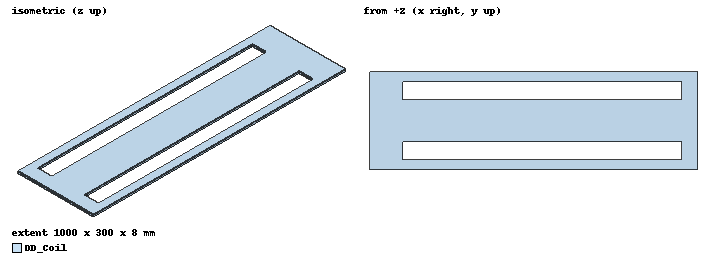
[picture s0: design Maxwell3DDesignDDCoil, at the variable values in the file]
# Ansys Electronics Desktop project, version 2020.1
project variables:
  $P1 = 10mm
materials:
  vacuum: permittivity=1

design Maxwell3DDesignDDCoil (Maxwell 3D, Magnetostatic, model units mm)
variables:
  b1_y = 50mm
  box1width = 30mm
  box2width = 55mm
  coil_diameter = 8mm
  P_2 = 30mm
  P_1 = 150mm - box2width- P_2
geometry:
  DD_Coil [vacuum] = box(corner=(0mm, 0mm, 0mm), size=(1000mm, 300mm, coil_diameter))
  Box3 = box(corner=(100mm, P_2, 0mm), size=(850mm, box2width, coil_diameter))
  Polyline1 = polyline((0mm, 150mm, 8mm) (1000mm, 150mm, 8mm))
  Box3_1 = Box3.duplicate_mirror(point=(100mm, 150mm, 0mm), normal=(0mm, -1mm, 0mm))
  DD_Coil.subtract(Box3, Box3_1)
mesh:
  initial mesh: GlobalCurvilinear{Apply}
